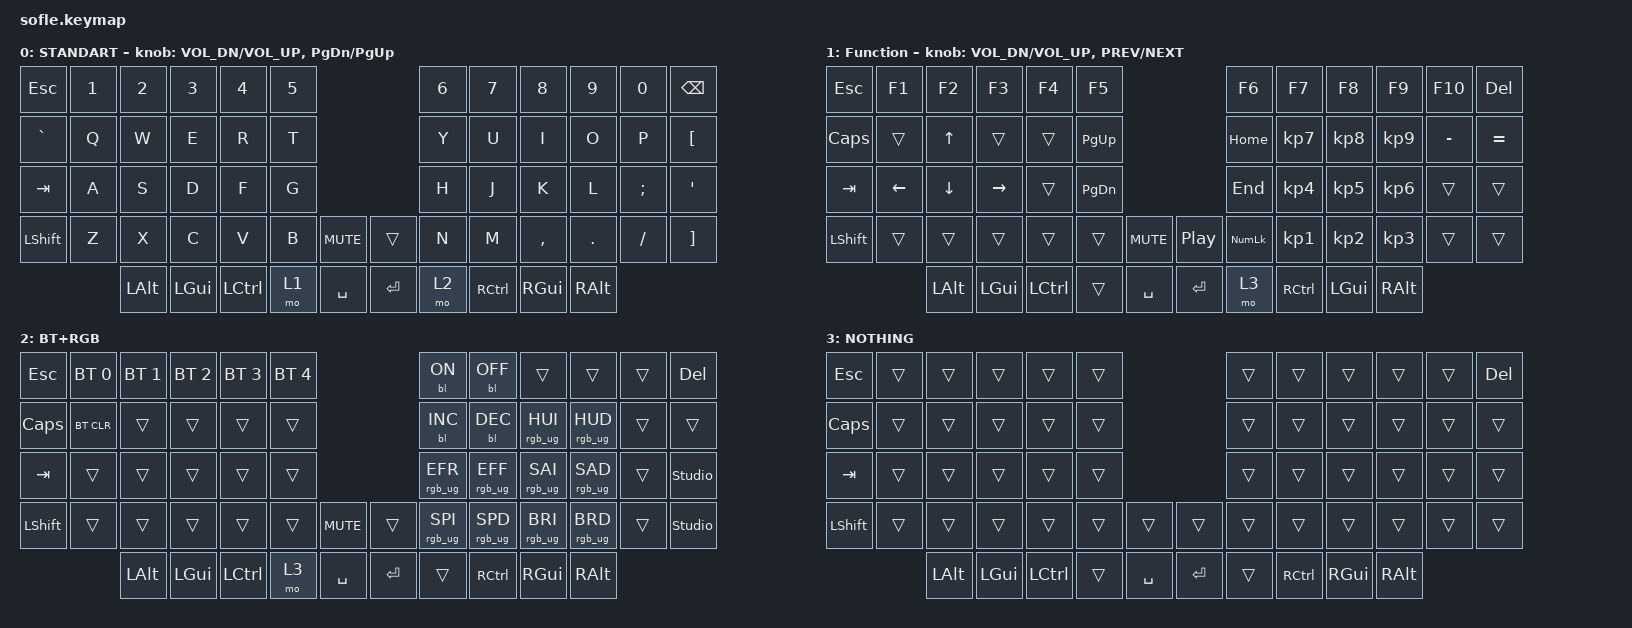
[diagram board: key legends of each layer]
/*
 * Copyright (c) 2020 The ZMK Contributors
 *
 * SPDX-License-Identifier: MIT
 */

#include <behaviors.dtsi>
#include <dt-bindings/zmk/backlight.h>
#include <dt-bindings/zmk/bt.h>
#include <dt-bindings/zmk/keys.h>
#include <dt-bindings/zmk/rgb.h>

/ {

    keymap {
        compatible = "zmk,keymap";

        layer_0 {
            display-name = "STANDART";
            bindings = <
&kp ESC    &kp N1  &kp N2    &kp N3    &kp N4     &kp N5                         &kp N6  &kp N7     &kp N8     &kp N9    &kp N0    &kp BSPC
&kp GRAVE  &kp Q   &kp W     &kp E     &kp R      &kp T                          &kp Y   &kp U      &kp I      &kp O     &kp P     &kp LBKT
&kp TAB    &kp A   &kp S     &kp D     &kp F      &kp G                          &kp H   &kp J      &kp K      &kp L     &kp SEMI  &kp SQT
&kp LSHFT  &kp Z   &kp X     &kp C     &kp V      &kp B   &kp C_MUTE    &trans   &kp N   &kp M      &kp COMMA  &kp DOT   &kp FSLH  &kp RBKT
                   &kp LALT  &kp LGUI  &kp LCTRL  &mo 1   &kp SPACE     &kp RET  &mo 2   &kp RCTRL  &kp RGUI   &kp RALT
            >;

            sensor-bindings =
                <&inc_dec_kp C_VOL_DN C_VOL_UP>,
                <&inc_dec_kp PG_DN PG_UP>;
        };

        layer_1 {
            display-name = "Function";
            bindings = <
&kp ESC    &kp F1    &kp F2    &kp F3     &kp F4     &kp F5                                     &kp F6          &kp F7           &kp F8           &kp F9           &kp F10    &kp DEL
&kp CAPS   &trans    &kp UP    &trans     &trans     &kp PG_UP                                  &kp HOME        &kp KP_NUMBER_7  &kp KP_NUMBER_8  &kp KP_NUMBER_9  &kp MINUS  &kp EQUAL
&kp TAB    &kp LEFT  &kp DOWN  &kp RIGHT  &trans     &kp PG_DN                                  &kp END         &kp KP_NUMBER_4  &kp KP_NUMBER_5  &kp KP_NUMBER_6  &trans     &trans
&kp LSHFT  &trans    &trans    &trans     &trans     &trans     &kp C_MUTE    &kp C_PLAY_PAUSE  &kp KP_NUMLOCK  &kp KP_NUMBER_1  &kp KP_NUMBER_2  &kp KP_NUMBER_3  &trans     &trans
                     &kp LALT  &kp LGUI   &kp LCTRL  &trans     &kp SPACE     &kp ENTER         &mo 3           &kp RCTRL        &kp LGUI         &kp RALT
            >;

            sensor-bindings =
                <&inc_dec_kp C_VOL_DN C_VOL_UP>,
                <&inc_dec_kp C_PREV C_NEXT>;
        };

        layer_2 {
            display-name = "BT+RGB";
            bindings = <
&kp ESC    &bt BT_SEL 0  &bt BT_SEL 1  &bt BT_SEL 2  &bt BT_SEL 3  &bt BT_SEL 4                         &bl BL_ON        &bl BL_OFF       &trans           &trans           &trans  &kp DEL
&kp CAPS   &bt BT_CLR    &trans        &trans        &trans        &trans                               &bl BL_INC       &bl BL_DEC       &rgb_ug RGB_HUI  &rgb_ug RGB_HUD  &trans  &trans
&kp TAB    &trans        &trans        &trans        &trans        &trans                               &rgb_ug RGB_EFR  &rgb_ug RGB_EFF  &rgb_ug RGB_SAI  &rgb_ug RGB_SAD  &trans  &studio_unlock
&kp LSHFT  &trans        &trans        &trans        &trans        &trans        &kp C_MUTE    &trans   &rgb_ug RGB_SPI  &rgb_ug RGB_SPD  &rgb_ug RGB_BRI  &rgb_ug RGB_BRD  &trans  &studio_unlock
                         &kp LALT      &kp LGUI      &kp LCTRL     &mo 3         &kp SPACE     &kp RET  &trans           &kp RCTRL        &kp RGUI         &kp RALT
            >;
        };

        layer_3 {
            display-name = "NOTHING";
            bindings = <
&kp ESC    &trans  &trans    &trans    &trans     &trans                        &trans  &trans     &trans    &trans    &trans  &kp DEL
&kp CAPS   &trans  &trans    &trans    &trans     &trans                        &trans  &trans     &trans    &trans    &trans  &trans
&kp TAB    &trans  &trans    &trans    &trans     &trans                        &trans  &trans     &trans    &trans    &trans  &trans
&kp LSHFT  &trans  &trans    &trans    &trans     &trans  &trans       &trans   &trans  &trans     &trans    &trans    &trans  &trans
                   &kp LALT  &kp LGUI  &kp LCTRL  &trans  &kp SPACE    &kp RET  &trans  &kp RCTRL  &kp RGUI  &kp RALT
            >;
        };
    };
};
